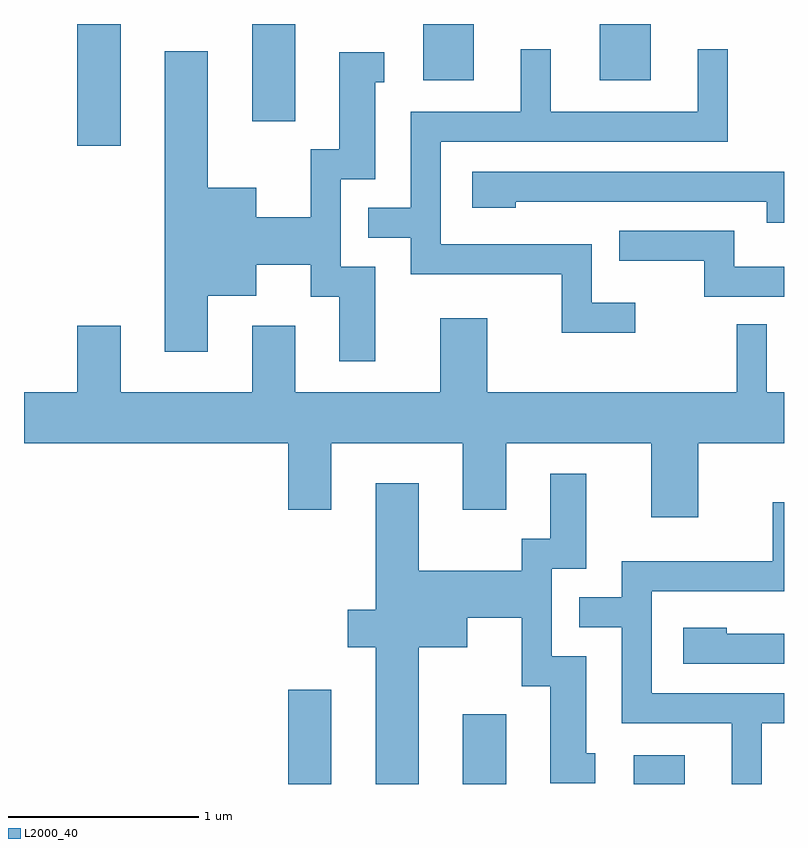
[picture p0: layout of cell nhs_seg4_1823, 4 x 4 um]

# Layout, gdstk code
import gdstk
lib = gdstk.Library(unit=1e-6, precision=1e-09)
def R(c, l, rs):  # rectangles x0, y0, x1, y1
    for r in rs: c.add(gdstk.rectangle(r[:2], r[2:], *l))
def P(c, l, *ps):  # polygons
    for p in ps: c.add(gdstk.Polygon(p, *l))
L2000_40 = (2000, 40)

nhs_seg4_1823 = lib.new_cell('nhs_seg4_1823')
R(nhs_seg4_1823, L2000_40, [(239.001,1363.982,239.229,1364.479), (239.921,1363.982,240.149,1364.349), (240.821,1363.982,241.089,1364.134), (237.891,1367.341,238.119,1367.982), (238.811,1367.471,239.039,1367.982), (239.711,1367.686,239.979,1367.982), (240.641,1367.686,240.909,1367.982)])
P(nhs_seg4_1823, L2000_40, [(240.828,1366.514),(240.599,1366.514),(240.599,1366.824),(239.804,1366.824),(239.804,1367.361),(241.314,1367.361),(241.314,1367.848),(241.156,1367.848),(241.156,1367.519),(240.384,1367.519),(240.384,1367.848),(240.226,1367.848),(240.226,1367.519),(239.646,1367.519),(239.646,1367.014),(239.423,1367.014),(239.423,1366.856),(239.646,1366.856),(239.646,1366.666),(240.441,1366.666),(240.441,1366.356),(240.828,1366.356)],
  [(239.459,1366.704),(239.279,1366.704),(239.279,1367.166),(239.459,1367.166),(239.459,1367.676),(239.508,1367.676),(239.508,1367.834),(239.271,1367.834),(239.271,1367.324),(239.121,1367.324),(239.121,1366.964),(238.834,1366.964),(238.834,1367.119),(238.579,1367.119),(238.579,1367.839),(238.351,1367.839),(238.351,1366.256),(238.579,1366.256),(238.579,1366.551),(238.834,1366.551),(238.834,1366.716),(239.121,1366.716),(239.121,1366.546),(239.271,1366.546),(239.271,1366.206),(239.459,1366.206)],
  [(241.611,1367.204),(239.971,1367.204),(239.971,1367.016),(240.199,1367.016),(240.199,1367.046),(241.521,1367.046),(241.521,1366.936),(241.611,1366.936)],
  [(241.611,1366.704),(241.349,1366.704),(241.349,1366.894),(240.743,1366.894),(240.743,1366.736),(241.191,1366.736),(241.191,1366.546),(241.611,1366.546)],
  [(241.611,1366.044),(241.519,1366.044),(241.519,1366.403),(241.361,1366.403),(241.361,1366.044),(240.049,1366.044),(240.049,1366.434),(239.801,1366.434),(239.801,1366.044),(239.039,1366.044),(239.039,1366.394),(238.811,1366.394),(238.811,1366.044),(238.119,1366.044),(238.119,1366.394),(237.891,1366.394),(237.891,1366.044),(237.611,1366.044),(237.611,1365.776),(239.001,1365.776),(239.001,1365.426),(239.229,1365.426),(239.229,1365.776),(239.921,1365.776),(239.921,1365.426),(240.149,1365.426),(240.149,1365.776),(240.911,1365.776),(240.911,1365.386),(241.159,1365.386),(241.159,1365.776),(241.611,1365.776)],
  [(239.689,1364.701),(239.944,1364.701),(239.944,1364.856),(240.231,1364.856),(240.231,1364.496),(240.381,1364.496),(240.381,1363.986),(240.618,1363.986),(240.618,1364.144),(240.569,1364.144),(240.569,1364.654),(240.389,1364.654),(240.389,1365.116),(240.569,1365.116),(240.569,1365.614),(240.381,1365.614),(240.381,1365.274),(240.231,1365.274),(240.231,1365.104),(239.689,1365.104),(239.689,1365.564),(239.461,1365.564),(239.461,1364.899),(239.316,1364.899),(239.316,1364.701),(239.461,1364.701),(239.461,1363.982),(239.689,1363.982)],
  [(241.494,1364.301),(241.611,1364.301),(241.611,1364.459),(240.914,1364.459),(240.914,1364.996),(241.611,1364.996),(241.611,1365.464),(241.551,1365.464),(241.551,1365.154),(240.756,1365.154),(240.756,1364.964),(240.533,1364.964),(240.533,1364.806),(240.756,1364.806),(240.756,1364.301),(241.336,1364.301),(241.336,1363.982),(241.494,1363.982)],
  [(241.611,1364.774),(241.309,1364.774),(241.309,1364.804),(241.081,1364.804),(241.081,1364.616),(241.611,1364.616)])

lib.write_gds('nhs_seg4_1823.gds')
